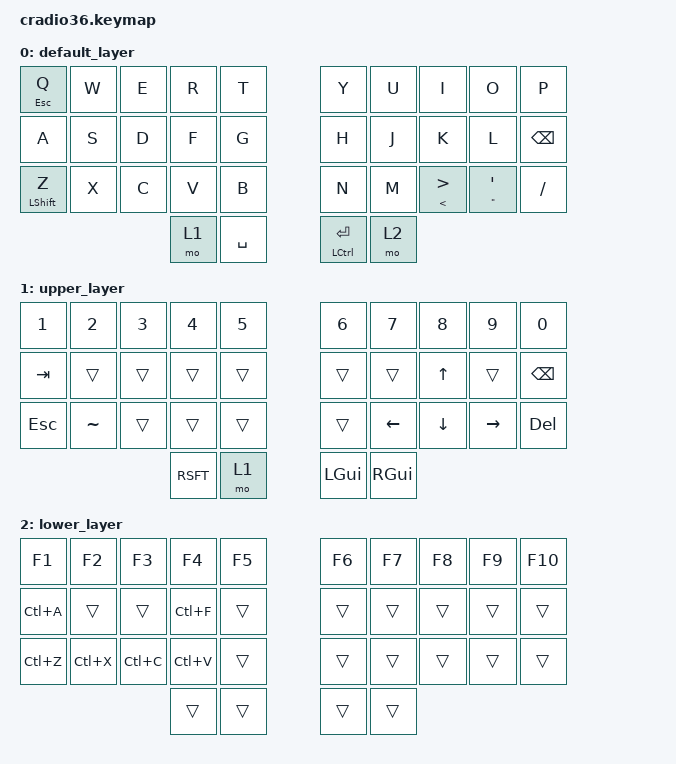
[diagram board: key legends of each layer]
#include <behaviors.dtsi>
#include <dt-bindings/zmk/keys.h>

/ {
    keymap {
        compatible = "zmk,keymap";

        default_layer {
            bindings = <
&mt ESCAPE Q      &kp W  &kp E  &kp R  &kp T        &kp Y                   &kp U  &kp I                       &kp O                           &kp P
&kp A             &kp S  &kp D  &kp F  &kp G        &kp H                   &kp J  &kp K                       &kp L                           &kp BACKSPACE
&mt LEFT_SHIFT Z  &kp X  &kp C  &kp V  &kp B        &kp N                   &kp M  &mt LESS_THAN GREATER_THAN  &mt DOUBLE_QUOTES SINGLE_QUOTE  &kp SLASH
                                &mo 1  &kp SPACE    &mt LEFT_CONTROL ENTER  &mo 2
            >;
        };

        upper_layer {
            bindings = <
&kp NUMBER_1  &kp NUMBER_2  &kp NUMBER_3  &kp NUMBER_4  &kp N5    &kp NUMBER_6  &kp N7    &kp N8          &kp N9     &kp N0
&kp TAB       &trans        &trans        &trans        &trans    &trans        &trans    &kp UP_ARROW    &trans     &kp BACKSPACE
&kp ESC       &kp TILDE     &trans        &trans        &trans    &trans        &kp LEFT  &kp DOWN_ARROW  &kp RIGHT  &kp DEL
                                          &kp RSFT      &mo 1     &kp LGUI      &kp RGUI
            >;
        };

        lower_layer {
            bindings = <
&kp F1     &kp F2     &kp F3     &kp F4     &kp F5    &kp F6  &kp F7  &kp F8  &kp F9  &kp F10
&kp LC(A)  &trans     &trans     &kp LC(F)  &trans    &trans  &trans  &trans  &trans  &trans
&kp LC(Z)  &kp LC(X)  &kp LC(C)  &kp LC(V)  &trans    &trans  &trans  &trans  &trans  &trans
                                 &trans     &trans    &trans  &trans
            >;
        };
    };
};
